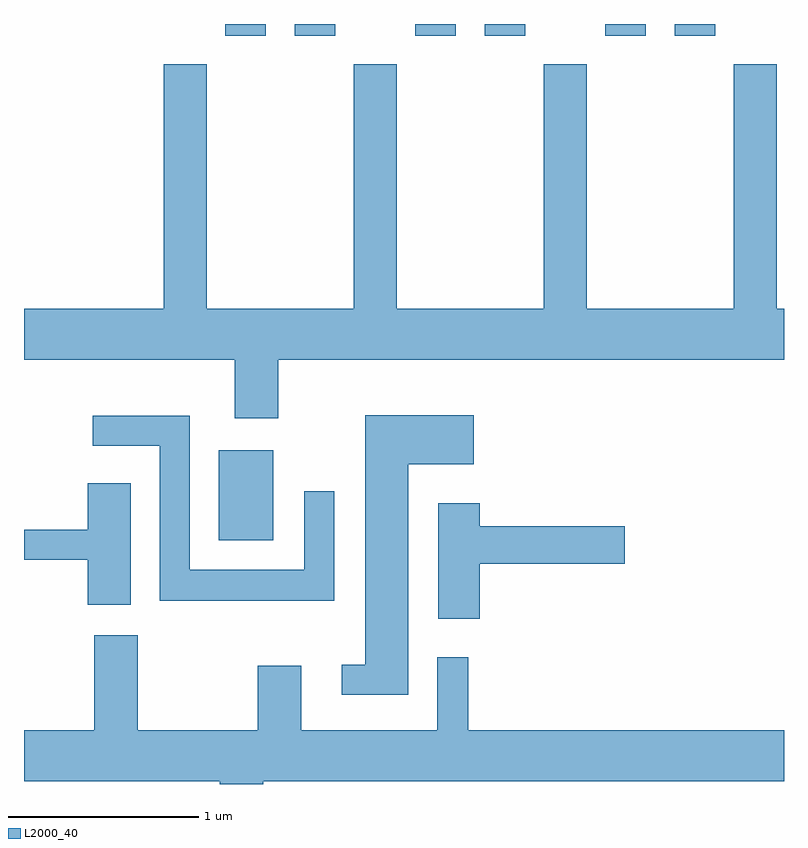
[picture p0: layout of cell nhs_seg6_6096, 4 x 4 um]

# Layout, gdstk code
import gdstk
lib = gdstk.Library(unit=1e-6, precision=1e-09)
def R(c, l, rs):  # rectangles x0, y0, x1, y1
    for r in rs: c.add(gdstk.rectangle(r[:2], r[2:], *l))
def P(c, l, *ps):  # polygons
    for p in ps: c.add(gdstk.Polygon(p, *l))
L2000_40 = (2000, 40)

nhs_seg6_6096 = lib.new_cell('nhs_seg6_6096')
R(nhs_seg6_6096, L2000_40, [(370.636,1633.446,370.924,1633.919), (370.671,1636.101,370.884,1636.162), (371.036,1636.101,371.249,1636.162), (371.671,1636.101,371.884,1636.162), (372.036,1636.101,372.249,1636.162), (372.671,1636.101,372.884,1636.162), (373.036,1636.101,373.249,1636.162)])
P(nhs_seg6_6096, L2000_40, [(370.949,1634.396),(373.611,1634.396),(373.611,1634.664),(373.574,1634.664),(373.574,1635.949),(373.346,1635.949),(373.346,1634.664),(372.574,1634.664),(372.574,1635.949),(372.346,1635.949),(372.346,1634.664),(371.574,1634.664),(371.574,1635.949),(371.346,1635.949),(371.346,1634.664),(370.574,1634.664),(370.574,1635.949),(370.346,1635.949),(370.346,1634.664),(369.611,1634.664),(369.611,1634.396),(370.721,1634.396),(370.721,1634.086),(370.949,1634.086)],
  [(371.634,1633.846),(371.979,1633.846),(371.979,1634.104),(371.406,1634.104),(371.406,1632.789),(371.283,1632.789),(371.283,1632.631),(371.634,1632.631)],
  [(371.244,1633.703),(371.086,1633.703),(371.086,1633.289),(370.484,1633.289),(370.484,1634.099),(369.973,1634.099),(369.973,1633.941),(370.326,1633.941),(370.326,1633.126),(371.244,1633.126)],
  [(370.174,1633.744),(369.946,1633.744),(369.946,1633.499),(369.611,1633.499),(369.611,1633.341),(369.946,1633.341),(369.946,1633.106),(370.174,1633.106)],
  [(372.009,1633.321),(372.774,1633.321),(372.774,1633.519),(372.009,1633.519),(372.009,1633.639),(371.791,1633.639),(371.791,1633.031),(372.009,1633.031)],
  [(370.869,1632.176),(373.611,1632.176),(373.611,1632.444),(371.949,1632.444),(371.949,1632.828),(371.786,1632.828),(371.786,1632.444),(371.069,1632.444),(371.069,1632.784),(370.841,1632.784),(370.841,1632.444),(370.209,1632.444),(370.209,1632.944),(369.981,1632.944),(369.981,1632.444),(369.611,1632.444),(369.611,1632.176),(370.641,1632.176),(370.641,1632.162),(370.869,1632.162)])

lib.write_gds('nhs_seg6_6096.gds')
